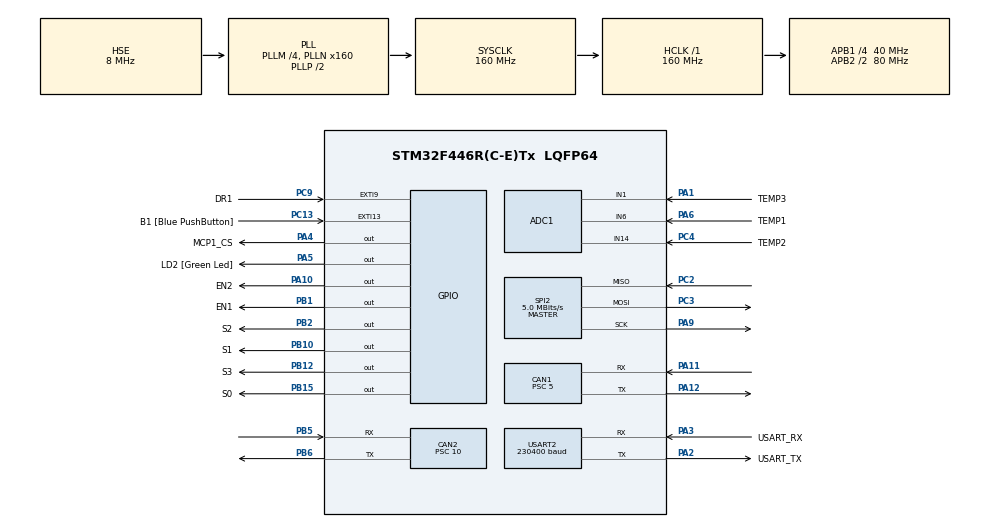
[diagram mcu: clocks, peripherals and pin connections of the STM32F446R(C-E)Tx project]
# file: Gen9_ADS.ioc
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ADC1.Channel-31\#ChannelRegularConversion=ADC_CHANNEL_6
ADC1.Channel-32\#ChannelRegularConversion=ADC_CHANNEL_14
ADC1.Channel-33\#ChannelRegularConversion=ADC_CHANNEL_1
ADC1.EnableAnalogWatchDog=false
ADC1.NbrOfConversion=3
ADC1.NbrOfConversionFlag=1
ADC1.Rank-31\#ChannelRegularConversion=1
ADC1.Rank-32\#ChannelRegularConversion=2
ADC1.Rank-33\#ChannelRegularConversion=3
ADC1.SamplingTime-31\#ChannelRegularConversion=ADC_SAMPLETIME_15CYCLES
ADC1.SamplingTime-32\#ChannelRegularConversion=ADC_SAMPLETIME_15CYCLES
ADC1.SamplingTime-33\#ChannelRegularConversion=ADC_SAMPLETIME_15CYCLES
ADC1.ScanConvMode=ENABLE
ADC1.master=1
CAN1.ABOM=ENABLE
CAN1.AWUM=DISABLE
CAN1.BS1=CAN_BS1_13TQ
CAN1.BS2=CAN_BS2_2TQ
CAN1.CalculateTimeBit=2000
CAN1.CalculateTimeQuantum=125.0
CAN1.Mode=CAN_MODE_NORMAL
CAN1.Prescaler=5
CAN1.SJW=CAN_SJW_1TQ
CAN2.ABOM=ENABLE
CAN2.BS1=CAN_BS1_11TQ
CAN2.BS2=CAN_BS2_4TQ
CAN2.CalculateTimeBit=4000
CAN2.CalculateTimeQuantum=250.0
CAN2.Prescaler=10
CAN2.SJW=CAN_SJW_1TQ
Dma.ADC1.2.Direction=DMA_PERIPH_TO_MEMORY
Dma.ADC1.2.FIFOMode=DMA_FIFOMODE_DISABLE
Dma.ADC1.2.Instance=DMA2_Stream0
Dma.ADC1.2.MemDataAlignment=DMA_MDATAALIGN_HALFWORD
Dma.ADC1.2.MemInc=DMA_MINC_ENABLE
Dma.ADC1.2.Mode=DMA_NORMAL
Dma.ADC1.2.PeriphDataAlignment=DMA_PDATAALIGN_HALFWORD
Dma.ADC1.2.PeriphInc=DMA_PINC_DISABLE
Dma.ADC1.2.Priority=DMA_PRIORITY_LOW
Dma.Request0=USART2_RX
Dma.Request1=USART2_TX
Dma.Request2=ADC1
Dma.Request3=SPI2_RX
Dma.Request4=SPI2_TX
Dma.SPI2_RX.3.Direction=DMA_PERIPH_TO_MEMORY
Dma.SPI2_RX.3.FIFOMode=DMA_FIFOMODE_DISABLE
Dma.SPI2_RX.3.Instance=DMA1_Stream3
Dma.SPI2_RX.3.MemDataAlignment=DMA_MDATAALIGN_BYTE
Dma.SPI2_RX.3.MemInc=DMA_MINC_ENABLE
Dma.SPI2_RX.3.Mode=DMA_NORMAL
Dma.SPI2_RX.3.PeriphDataAlignment=DMA_PDATAALIGN_BYTE
Dma.SPI2_RX.3.PeriphInc=DMA_PINC_DISABLE
Dma.SPI2_RX.3.Priority=DMA_PRIORITY_HIGH
Dma.SPI2_TX.4.Direction=DMA_MEMORY_TO_PERIPH
Dma.SPI2_TX.4.FIFOMode=DMA_FIFOMODE_DISABLE
Dma.SPI2_TX.4.Instance=DMA1_Stream4
Dma.SPI2_TX.4.MemDataAlignment=DMA_MDATAALIGN_BYTE
Dma.SPI2_TX.4.MemInc=DMA_MINC_ENABLE
Dma.SPI2_TX.4.Mode=DMA_NORMAL
Dma.SPI2_TX.4.PeriphDataAlignment=DMA_PDATAALIGN_BYTE
Dma.SPI2_TX.4.PeriphInc=DMA_PINC_DISABLE
Dma.SPI2_TX.4.Priority=DMA_PRIORITY_MEDIUM
Dma.USART2_RX.0.Direction=DMA_PERIPH_TO_MEMORY
Dma.USART2_RX.0.FIFOMode=DMA_FIFOMODE_DISABLE
Dma.USART2_RX.0.Instance=DMA1_Stream5
Dma.USART2_RX.0.MemDataAlignment=DMA_MDATAALIGN_BYTE
Dma.USART2_RX.0.MemInc=DMA_MINC_ENABLE
Dma.USART2_RX.0.Mode=DMA_CIRCULAR
Dma.USART2_RX.0.PeriphDataAlignment=DMA_PDATAALIGN_BYTE
Dma.USART2_RX.0.PeriphInc=DMA_PINC_DISABLE
Dma.USART2_RX.0.Priority=DMA_PRIORITY_HIGH
Dma.USART2_TX.1.Direction=DMA_MEMORY_TO_PERIPH
Dma.USART2_TX.1.FIFOMode=DMA_FIFOMODE_DISABLE
Dma.USART2_TX.1.Instance=DMA1_Stream6
Dma.USART2_TX.1.MemDataAlignment=DMA_MDATAALIGN_BYTE
Dma.USART2_TX.1.MemInc=DMA_MINC_ENABLE
Dma.USART2_TX.1.Mode=DMA_NORMAL
Dma.USART2_TX.1.PeriphDataAlignment=DMA_PDATAALIGN_BYTE
Dma.USART2_TX.1.PeriphInc=DMA_PINC_DISABLE
Dma.USART2_TX.1.Priority=DMA_PRIORITY_MEDIUM
FREERTOS.BinarySemaphores01=mcp3909_DR,Dynamic,NULL;mcp3909_RX,Dynamic,NULL
FREERTOS.HEAP_NUMBER=4
FREERTOS.INCLUDE_eTaskGetState=1
FREERTOS.INCLUDE_vTaskDelayUntil=1
FREERTOS.INCLUDE_xQueueGetMutexHolder=1
FREERTOS.INCLUDE_xSemaphoreGetMutexHolder=1
FREERTOS.INCLUDE_xTaskGetCurrentTaskHandle=1
FREERTOS.Mutexes01=swMtx,Dynamic,NULL
FREERTOS.Queues01=mainCanTxQ,64,Can_frame_t,NULL,Dynamic,NULL,NULL;mainCanRxQ,32,Can_frame_t,NULL,Dynamic,NULL,NULL;can2TxQ,32,Can_frame_t,NULL,Dynamic,NULL,NULL;Can2RxQ,32,Can_frame_t,NULL,Dynamic,NULL,NULL
FREERTOS.Tasks01=Application,-2,512,doApplication,Default,NULL,Dynamic,NULL,NULL;Can_Processor,1,512,doProcessCan,Default,NULL,Dynamic,NULL,NULL;RT,3,512,doRT,Default,NULL,Dynamic,NULL,NULL;TMT,2,512,doTMT,Default,NULL,Dynamic,NULL,NULL;HouseKeeping,-1,512,doHouseKeeping,Default,NULL,Dynamic,NULL,NULL;PPTPoll,0,512,doPPTPoll,Default,NULL,Dynamic,NULL,NULL
FREERTOS.Timers01=WWDGTmr,TmrKickDog,osTimerPeriodic,Default,NULL,Dynamic,NULL;HBTmr,TmrSendHB,osTimerPeriodic,Default,NULL,Dynamic,NULL
FREERTOS.configCHECK_FOR_STACK_OVERFLOW=2
FREERTOS.configENABLE_BACKWARD_COMPATIBILITY=0
FREERTOS.configMAX_PRIORITIES=7
FREERTOS.configMINIMAL_STACK_SIZE=512
FREERTOS.configTIMER_QUEUE_LENGTH=8
FREERTOS.configTIMER_TASK_PRIORITY=6
FREERTOS.configTIMER_TASK_STACK_DEPTH=512
FREERTOS.configTOTAL_HEAP_SIZE=65536
FREERTOS.configUSE_MALLOC_FAILED_HOOK=1
FREERTOS.configUSE_PORT_OPTIMISED_TASK_SELECTION=1
FREERTOS.configUSE_TASK_NOTIFICATIONS=0
FREERTOS.configUSE_TIMERS=1
FREERTOS.configUSE_TRACE_FACILITY=0
Mcu.Family=STM32F4
Mcu.Name=STM32F446R(C-E)Tx
Mcu.Package=LQFP64
NVIC.CAN1_RX0_IRQn=true\:5\:0\:false\:false\:true\:true
NVIC.CAN1_RX1_IRQn=true\:5\:0\:false\:false\:true\:true
NVIC.CAN1_SCE_IRQn=true\:5\:0\:false\:false\:true\:true
NVIC.CAN1_TX_IRQn=true\:5\:0\:false\:false\:true\:true
NVIC.CAN2_RX0_IRQn=true\:5\:0\:false\:false\:true\:true
NVIC.CAN2_RX1_IRQn=true\:5\:0\:false\:false\:true\:true
NVIC.CAN2_SCE_IRQn=true\:5\:0\:false\:false\:true\:true
NVIC.CAN2_TX_IRQn=true\:5\:0\:false\:false\:true\:true
NVIC.DMA1_Stream3_IRQn=true\:6\:0\:true\:false\:true\:true
NVIC.DMA1_Stream4_IRQn=true\:6\:0\:true\:false\:true\:true
NVIC.DMA1_Stream5_IRQn=true\:6\:0\:true\:false\:true\:true
NVIC.DMA1_Stream6_IRQn=true\:6\:0\:true\:false\:true\:true
NVIC.DMA2_Stream0_IRQn=true\:5\:0\:false\:false\:true\:true
NVIC.EXTI9_5_IRQn=true\:6\:0\:true\:false\:true\:true
NVIC.PriorityGroup=NVIC_PRIORITYGROUP_4
NVIC.SPI2_IRQn=true\:6\:0\:true\:false\:true\:true
NVIC.TIM6_DAC_IRQn=true\:0\:0\:false\:false\:true\:false
NVIC.TimeBase=TIM6_DAC_IRQn
NVIC.TimeBaseIP=TIM6
NVIC.USART2_IRQn=true\:5\:0\:false\:false\:true\:true
PA1.GPIO_Label=TEMP3
PA1.Signal=ADCx_IN1
PA10.GPIO_Label=EN2
PA10.GPIO_ModeDefaultOutputPP=GPIO_MODE_OUTPUT_OD
PA10.GPIO_PuPd=GPIO_NOPULL
PA10.GPIO_Speed=GPIO_SPEED_FREQ_VERY_HIGH
PA10.PinState=GPIO_PIN_RESET
PA10.Signal=GPIO_Output
PA11.Mode=Master
PA11.Signal=CAN1_RX
PA12.Mode=Master
PA12.Signal=CAN1_TX
PA13.GPIO_Label=TMS
PA13.Mode=Serial_Wire
PA13.Signal=SYS_JTMS-SWDIO
PA14.GPIO_Label=TCK
PA14.Mode=Serial_Wire
PA14.Signal=SYS_JTCK-SWCLK
PA2.GPIO_Label=USART_TX
PA2.Mode=Asynchronous
PA2.Signal=USART2_TX
PA3.GPIO_Label=USART_RX
PA3.Mode=Asynchronous
PA3.Signal=USART2_RX
PA4.GPIO_Label=MCP1_CS
PA4.GPIO_ModeDefaultOutputPP=GPIO_MODE_OUTPUT_OD
PA4.GPIO_PuPd=GPIO_PULLUP
PA4.GPIO_Speed=GPIO_SPEED_FREQ_VERY_HIGH
PA4.PinState=GPIO_PIN_SET
PA4.Signal=GPIO_Output
PA5.GPIO_Label=LD2 [Green Led]
PA5.GPIO_Speed=GPIO_SPEED_FREQ_VERY_HIGH
PA5.Signal=GPIO_Output
PA6.GPIO_Label=TEMP1
PA6.Signal=ADCx_IN6
PA9.Mode=Full_Duplex_Master
PA9.Signal=SPI2_SCK
PB1.GPIO_Label=EN1
PB1.GPIO_ModeDefaultOutputPP=GPIO_MODE_OUTPUT_OD
PB1.GPIO_PuPd=GPIO_NOPULL
PB1.GPIO_Speed=GPIO_SPEED_FREQ_VERY_HIGH
PB1.PinState=GPIO_PIN_RESET
PB1.Signal=GPIO_Output
PB10.GPIO_Label=S1
PB10.GPIO_Speed=GPIO_SPEED_FREQ_VERY_HIGH
PB10.Signal=GPIO_Output
PB12.GPIO_Label=S3
PB12.GPIO_Speed=GPIO_SPEED_FREQ_VERY_HIGH
PB12.Signal=GPIO_Output
PB15.GPIO_Label=S0
PB15.GPIO_Speed=GPIO_SPEED_FREQ_VERY_HIGH
PB15.Signal=GPIO_Output
PB2.GPIO_Label=S2
PB2.GPIO_PuPd=GPIO_NOPULL
PB2.GPIO_Speed=GPIO_SPEED_FREQ_VERY_HIGH
PB2.Signal=GPIO_Output
PB5.Mode=Slave
PB5.Signal=CAN2_RX
PB6.Mode=Slave
PB6.Signal=CAN2_TX
PC13.GPIO_Label=B1 [Blue PushButton]
PC13.GPIO_ModeDefaultEXTI=GPIO_MODE_EVT_RISING
PC13.Signal=GPXTI13
PC14-OSC32_IN.Mode=LSE-External-Oscillator
PC14-OSC32_IN.Signal=RCC_OSC32_IN
PC15-OSC32_OUT.Mode=LSE-External-Oscillator
PC15-OSC32_OUT.Signal=RCC_OSC32_OUT
PC2.GPIO_PuPd=GPIO_PULLUP
PC2.Mode=Full_Duplex_Master
PC2.Signal=SPI2_MISO
PC3.GPIO_PuPd=GPIO_PULLUP
PC3.Mode=Full_Duplex_Master
PC3.Signal=SPI2_MOSI
PC4.GPIO_Label=TEMP2
PC4.Signal=ADCx_IN14
PC9.GPIO_Label=DR1
PC9.GPIO_ModeDefaultEXTI=GPIO_MODE_IT_FALLING
PC9.Signal=GPXTI9
PH0-OSC_IN.Mode=HSE-External-Oscillator
PH0-OSC_IN.Signal=RCC_OSC_IN
PH1-OSC_OUT.Mode=HSE-External-Oscillator
PH1-OSC_OUT.Signal=RCC_OSC_OUT
ProjectManager.HeapSize=0x200
ProjectManager.StackSize=0x400
ProjectManager.TargetToolchain=EWARM
RCC.48MHZClocksFreq_Value=84000000
RCC.AHBFreq_Value=160000000
RCC.APB1CLKDivider=RCC_HCLK_DIV4
RCC.APB1Freq_Value=40000000
RCC.APB1TimFreq_Value=80000000
RCC.APB2CLKDivider=RCC_HCLK_DIV2
RCC.APB2Freq_Value=80000000
RCC.APB2TimFreq_Value=160000000
RCC.CortexFreq_Value=160000000
RCC.FLatency-AdvancedSettings=FLASH_LATENCY_5
RCC.HCLKFreq_Value=160000000
RCC.HSE_VALUE=8000000
RCC.HSI_VALUE=16000000
RCC.PLLM=4
RCC.PLLN=160
RCC.PLLSourceVirtual=RCC_PLLSOURCE_HSE
RCC.RCC_RTC_Clock_SourceVirtual=RCC_RTCCLKSOURCE_LSI
RCC.SYSCLKFreq_VALUE=160000000
RCC.SYSCLKSource=RCC_SYSCLKSOURCE_PLLCLK
RCC.USBFreq_Value=160000000
RCC.VCOOutputFreq_Value=320000000
SH.ADCx_IN1.0=ADC1_IN1,IN1
SH.ADCx_IN14.0=ADC1_IN14,IN14
SH.ADCx_IN6.0=ADC1_IN6,IN6
SPI2.BaudRatePrescaler=SPI_BAUDRATEPRESCALER_8
SPI2.CalculateBaudRate=5.0 MBits/s
SPI2.Direction=SPI_DIRECTION_2LINES
SPI2.Mode=SPI_MODE_MASTER
SPI2.VirtualType=VM_MASTER
USART2.BaudRate=230400
USART2.VirtualMode=VM_ASYNC
VP_FREERTOS_VS_ENABLE.Mode=Enabled
VP_SYS_VS_tim6.Mode=TIM6
VP_WWDG_VS_WWDG.Mode=WWDG_Activate
WWDG.Counter=127
WWDG.Prescaler=WWDG_PRESCALER_8
WWDG.Window=127
board=NUCLEO-F446RE

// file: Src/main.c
/**
  ******************************************************************************
  * File Name          : main.c
  * Description        : Main program body
  ******************************************************************************
  * This notice applies to any and all portions of this file
  * that are not between comment pairs USER CODE BEGIN and
  * USER CODE END. Other portions of this file, whether
  * inserted by the user or by software development tools
  * are owned by their respective copyright owners.
  *
  * Copyright (c) 2017 STMicroelectronics International N.V.
  * All rights reserved.
  *
  * Redistribution and use in source and binary forms, with or without
  * modification, are permitted, provided that the following conditions are met:
  *
  * 1. Redistribution of source code must retain the above copyright notice,
  *    this list of conditions and the following disclaimer.
  * 2. Redistributions in binary form must reproduce the above copyright notice,
  *    this list of conditions and the following disclaimer in the documentation
  *    and/or other materials provided with the distribution.
  * 3. Neither the name of STMicroelectronics nor the names of other
  *    contributors to this software may be used to endorse or promote products
  *    derived from this software without specific written permission.
  * 4. This software, including modifications and/or derivative works of this
  *    software, must execute solely and exclusively on microcontroller or
  *    microprocessor devices manufactured by or for STMicroelectronics.
  * 5. Redistribution and use of this software other than as permitted under
  *    this license is void and will automatically terminate your rights under
  *    this license.
  *
  * THIS SOFTWARE IS PROVIDED BY STMICROELECTRONICS AND CONTRIBUTORS "AS IS"
  * AND ANY EXPRESS, IMPLIED OR STATUTORY WARRANTIES, INCLUDING, BUT NOT
  * LIMITED TO, THE IMPLIED WARRANTIES OF MERCHANTABILITY, FITNESS FOR A
  * PARTICULAR PURPOSE AND NON-INFRINGEMENT OF THIRD PARTY INTELLECTUAL PROPERTY
  * RIGHTS ARE DISCLAIMED TO THE FULLEST EXTENT PERMITTED BY LAW. IN NO EVENT
  * SHALL STMICROELECTRONICS OR CONTRIBUTORS BE LIABLE FOR ANY DIRECT, INDIRECT,
  * INCIDENTAL, SPECIAL, EXEMPLARY, OR CONSEQUENTIAL DAMAGES (INCLUDING, BUT NOT
  * LIMITED TO, PROCUREMENT OF SUBSTITUTE GOODS OR SERVICES; LOSS OF USE, DATA,
  * OR PROFITS; OR BUSINESS INTERRUPTION) HOWEVER CAUSED AND ON ANY THEORY OF
  * LIABILITY, WHETHER IN CONTRACT, STRICT LIABILITY, OR TORT (INCLUDING
  * NEGLIGENCE OR OTHERWISE) ARISING IN ANY WAY OUT OF THE USE OF THIS SOFTWARE,
  * EVEN IF ADVISED OF THE POSSIBILITY OF SUCH DAMAGE.
  *
  ******************************************************************************
  */
#include "main.h"
#include "stm32f4xx_hal.h"
#include "cmsis_os.h"

/* USER CODE BEGIN Includes */
#include "../../CAN_ID.h"
#include "nodeConf.h"
#include "can.h"
#include "can2.h"
#include "serial.h"
#include "ts_lib.h"
#include "thermistor.h"
#include "nodeMiscHelpers.h"
#include "psb0cal.h"

// RTOS Task functions + helpers
#include "Can_Processor.h"

//MCP3909
#include "mcp3909.h"

/* USER CODE END Includes */

ADC_HandleTypeDef hadc1;
DMA_HandleTypeDef hdma_adc1;

CAN_HandleTypeDef hcan1;
CAN_HandleTypeDef hcan2;

SPI_HandleTypeDef hspi2;
DMA_HandleTypeDef hdma_spi2_rx;
DMA_HandleTypeDef hdma_spi2_tx;

UART_HandleTypeDef huart2;
DMA_HandleTypeDef hdma_usart2_rx;
DMA_HandleTypeDef hdma_usart2_tx;

WWDG_HandleTypeDef hwwdg;

osThreadId ApplicationHandle;
osThreadId Can_ProcessorHandle;
osThreadId RTHandle;
osThreadId TMTHandle;
osThreadId HouseKeepingHandle;
osThreadId PPTPollHandle;
osMessageQId mainCanTxQHandle;
osMessageQId mainCanRxQHandle;
osMessageQId can2TxQHandle;
osMessageQId Can2RxQHandle;
osTimerId WWDGTmrHandle;
osTimerId HBTmrHandle;
osMutexId swMtxHandle;
osSemaphoreId mcp3909_DRHandle;
osSemaphoreId mcp3909_RXHandle;

/* USER CODE BEGIN PV */
/* Private variables ---------------------------------------------------------*/
MCP3909HandleTypeDef hmcp1;
uint8_t mcpRxBuf[REG_LEN * REGS_NUM];
uint8_t mcpTxBuf[REG_LEN * REGS_NUM + CTRL_LEN];

uint8_t init_Done = 0;

// SW_Sentinel will fail the CC firmware check and result in node addition failure!
//const uint32_t firmwareString = 0x00000001;			// Firmware Version string
//const uint8_t selfNodeID = bps_nodeID;					// The nodeID of this node
//uint32_t selfStatusWord = INIT;							// Initialize
//#define NODE_CONFIGURED
//
//#ifndef NODE_CONFIGURED
//#error "NODE NOT CONFIGURED. GO CONFIGURE IT IN NODECONF.H!"
//#endif
/* USER CODE END PV */

void SystemClock_Config(void);
static void MX_GPIO_Init(void);
static void MX_DMA_Init(void);
static void MX_USART2_UART_Init(void);
static void MX_ADC1_Init(void);
static void MX_CAN1_Init(void);
static void MX_SPI2_Init(void);
static void MX_WWDG_Init(void);
static void MX_CAN2_Init(void);
void doApplication(void const * argument);
void doProcessCan(void const * argument);
void doRT(void const * argument);
void doTMT(void const * argument);
void doHouseKeeping(void const * argument);
void doPPTPoll(void const * argument);
void TmrKickDog(void const * argument);
void TmrSendHB(void const * argument);

/* USER CODE BEGIN PFP */
/* Private function prototypes -----------------------------------------------*/

// Data Ready pin triggered callback (PA1)
void HAL_GPIO_EXTI_Callback(uint16_t pinNum);
void HAL_SPI_TxRxCpltCallback(SPI_HandleTypeDef *hspi);
void HAL_SPI_TxCpltCallback(SPI_HandleTypeDef *hspi);
void EM_Init();
void HAL_CAN_TxCpltCallback(CAN_HandleTypeDef* hcan);
void HAL_CAN_RxCpltCallback(CAN_HandleTypeDef* hcan);
void HAL_CAN_ErrorCallback(CAN_HandleTypeDef *hcan);
/* USER CODE END PFP */

int main(void)
{

  /* USER CODE BEGIN 1 */
//#define DISABLE_RT
#define DISABLE_TMT
//#define DISABLE_CAN
	#define DISABLE_SERIAL_OUT
	selfStatusWord = INIT;
  /* USER CODE END 1 */

  /* MCU Configuration----------------------------------------------------------*/

  /* Reset of all peripherals, Initializes the Flash interface and the Systick. */
  HAL_Init();

  /* Configure the system clock */
  SystemClock_Config();

  /* Initialize all configured peripherals */
  MX_GPIO_Init();
  MX_DMA_Init();
  MX_USART2_UART_Init();
  MX_ADC1_Init();
  MX_CAN1_Init();
  MX_SPI2_Init();
  MX_WWDG_Init();
  MX_CAN2_Init();

  /* USER CODE BEGIN 2 */
	__HAL_GPIO_EXTI_CLEAR_IT(DR1_Pin);
	HAL_NVIC_DisableIRQ(EXTI9_5_IRQn);
	__HAL_GPIO_EXTI_CLEAR_IT(DR1_Pin);

	init_Done = 1;

	Serial2_begin();
	Serial2_writeBuf("Booting... \n");

	bxCan_begin(&hcan1, &mainCanRxQHandle, &mainCanTxQHandle);
	bxCan_addMaskedFilterStd(p2pOffset,0xFF0,0);

	bxCan2_begin(&hcan2, &Can2RxQHandle, &can2TxQHandle);
	bxCan2_addMaskedFilterStd(0,0,0);
	bxCan2_addMaskedFilterExt(0,0,0);

	#ifndef DISABLE_TMT
		Temp_begin(&hadc1);
	#endif

	#ifndef DISABLE_RT
		EM_Init();
		HAL_WWDG_Refresh(&hwwdg);
	#endif
  /* USER CODE END 2 */

  /* Create the mutex(es) */
  /* definition and creation of swMtx */
  osMutexDef(swMtx);
  swMtxHandle = osMutexCreate(osMutex(swMtx));

  /* Create the semaphores(s) */
  /* definition and creation of mcp3909_DR */
  osSemaphoreDef(mcp3909_DR);
  mcp3909_DRHandle = osSemaphoreCreate(osSemaphore(mcp3909_DR), 1);

  /* definition and creation of mcp3909_RX */
  osSemaphoreDef(mcp3909_RX);
  mcp3909_RXHandle = osSemaphoreCreate(osSemaphore(mcp3909_RX), 1);

  /* Create the timer(s) */
  /* definition and creation of WWDGTmr */
  osTimerDef(WWDGTmr, TmrKickDog);
  WWDGTmrHandle = osTimerCreate(osTimer(WWDGTmr), osTimerPeriodic, NULL);

  /* definition and creation of HBTmr */
  osTimerDef(HBTmr, TmrSendHB);
  HBTmrHandle = osTimerCreate(osTimer(HBTmr), osTimerPeriodic, NULL);

  /* USER CODE BEGIN RTOS_TIMERS */
  /* start timers, add new ones, ... */
  osTimerStart(WWDGTmrHandle, WD_Interval);
  osTimerStart(HBTmrHandle, HB_Interval);
  /* USER CODE END RTOS_TIMERS */

  /* Create the thread(s) */
  /* definition and creation of Application */
  osThreadDef(Application, doApplication, osPriorityLow, 0, 512);
  ApplicationHandle = osThreadCreate(osThread(Application), NULL);

  /* definition and creation of Can_Processor */
  osThreadDef(Can_Processor, doProcessCan, osPriorityAboveNormal, 0, 512);
  Can_ProcessorHandle = osThreadCreate(osThread(Can_Processor), NULL);

  /* definition and creation of RT */
  osThreadDef(RT, doRT, osPriorityRealtime, 0, 512);
  RTHandle = osThreadCreate(osThread(RT), NULL);

  /* definition and creation of TMT */
  osThreadDef(TMT, doTMT, osPriorityHigh, 0, 512);
  TMTHandle = osThreadCreate(osThread(TMT), NULL);

  /* definition and creation of HouseKeeping */
  osThreadDef(HouseKeeping, doHouseKeeping, osPriorityBelowNormal, 0, 512);
  HouseKeepingHandle = osThreadCreate(osThread(HouseKeeping), NULL);

  /* definition and creation of PPTPoll */
  osThreadDef(PPTPoll, doPPTPoll, osPriorityNormal, 0, 512);
  PPTPollHandle = osThreadCreate(osThread(PPTPoll), NULL);

  /* Create the queue(s) */
  /* definition and creation of mainCanTxQ */
  osMessageQDef(mainCanTxQ, 64, Can_frame_t);
  mainCanTxQHandle = osMessageCreate(osMessageQ(mainCanTxQ), NULL);

  /* definition and creation of mainCanRxQ */
  osMessageQDef(mainCanRxQ, 32, Can_frame_t);
  mainCanRxQHandle = osMessageCreate(osMessageQ(mainCanRxQ), NULL);

  /* definition and creation of can2TxQ */
  osMessageQDef(can2TxQ, 32, Can_frame_t);
  can2TxQHandle = osMessageCreate(osMessageQ(can2TxQ), NULL);

  /* definition and creation of Can2RxQ */
  osMessageQDef(Can2RxQ, 32, Can_frame_t);
  Can2RxQHandle = osMessageCreate(osMessageQ(Can2RxQ), NULL);

  /* Start scheduler */
  osKernelStart();

  /* We should never get here as control is now taken by the scheduler */

  /* Infinite loop */
  while (1)
  {

  }

}

/** System Clock Configuration
*/
void SystemClock_Config(void)
{

  RCC_OscInitTypeDef RCC_OscInitStruct;
  RCC_ClkInitTypeDef RCC_ClkInitStruct;

    /**Configure the main internal regulator output voltage
    */
  __HAL_RCC_PWR_CLK_ENABLE();

  __HAL_PWR_VOLTAGESCALING_CONFIG(PWR_REGULATOR_VOLTAGE_SCALE1);

    /**Initializes the CPU, AHB and APB busses clocks
    */
  RCC_OscInitStruct.OscillatorType = RCC_OSCILLATORTYPE_HSE;
  RCC_OscInitStruct.HSEState = RCC_HSE_ON;
  RCC_OscInitStruct.PLL.PLLState = RCC_PLL_ON;
  RCC_OscInitStruct.PLL.PLLSource = RCC_PLLSOURCE_HSE;
  RCC_OscInitStruct.PLL.PLLM = 4;
  RCC_OscInitStruct.PLL.PLLN = 160;
  RCC_OscInitStruct.PLL.PLLP = RCC_PLLP_DIV2;
  RCC_OscInitStruct.PLL.PLLQ = 2;
  RCC_OscInitStruct.PLL.PLLR = 2;
  if (HAL_RCC_OscConfig(&RCC_OscInitStruct) != HAL_OK)
  {
    _Error_Handler(__FILE__, __LINE__);
  }

    /**Initializes the CPU, AHB and APB busses clocks
    */
  RCC_ClkInitStruct.ClockType = RCC_CLOCKTYPE_HCLK|RCC_CLOCKTYPE_SYSCLK
                              |RCC_CLOCKTYPE_PCLK1|RCC_CLOCKTYPE_PCLK2;
  RCC_ClkInitStruct.SYSCLKSource = RCC_SYSCLKSOURCE_PLLCLK;
  RCC_ClkInitStruct.AHBCLKDivider = RCC_SYSCLK_DIV1;
  RCC_ClkInitStruct.APB1CLKDivider = RCC_HCLK_DIV4;
  RCC_ClkInitStruct.APB2CLKDivider = RCC_HCLK_DIV2;

  if (HAL_RCC_ClockConfig(&RCC_ClkInitStruct, FLASH_LATENCY_5) != HAL_OK)
  {
    _Error_Handler(__FILE__, __LINE__);
  }

    /**Configure the Systick interrupt time
    */
  HAL_SYSTICK_Config(HAL_RCC_GetHCLKFreq()/1000);

    /**Configure the Systick
    */
  HAL_SYSTICK_CLKSourceConfig(SYSTICK_CLKSOURCE_HCLK);

  /* SysTick_IRQn interrupt configuration */
  HAL_NVIC_SetPriority(SysTick_IRQn, 15, 0);
}

/* ADC1 init function */
static void MX_ADC1_Init(void)
{

  ADC_ChannelConfTypeDef sConfig;

    /**Configure the global features of the ADC (Clock, Resolution, Data Alignment and number of conversion)
    */
  hadc1.Instance = ADC1;
  hadc1.Init.ClockPrescaler = ADC_CLOCK_SYNC_PCLK_DIV4;
  hadc1.Init.Resolution = ADC_RESOLUTION_12B;
  hadc1.Init.ScanConvMode = ENABLE;
  hadc1.Init.ContinuousConvMode = DISABLE;
  hadc1.Init.DiscontinuousConvMode = DISABLE;
  hadc1.Init.ExternalTrigConvEdge = ADC_EXTERNALTRIGCONVEDGE_NONE;
  hadc1.Init.ExternalTrigConv = ADC_SOFTWARE_START;
  hadc1.Init.DataAlign = ADC_DATAALIGN_RIGHT;
  hadc1.Init.NbrOfConversion = 3;
  hadc1.Init.DMAContinuousRequests = DISABLE;
  hadc1.Init.EOCSelection = ADC_EOC_SINGLE_CONV;
  if (HAL_ADC_Init(&hadc1) != HAL_OK)
  {
    _Error_Handler(__FILE__, __LINE__);
  }

    /**Configure for the selected ADC regular channel its corresponding rank in the sequencer and its sample time.
    */
  sConfig.Channel = ADC_CHANNEL_6;
  sConfig.Rank = 1;
  sConfig.SamplingTime = ADC_SAMPLETIME_15CYCLES;
  if (HAL_ADC_ConfigChannel(&hadc1, &sConfig) != HAL_OK)
  {
    _Error_Handler(__FILE__, __LINE__);
  }

    /**Configure for the selected ADC regular channel its corresponding rank in the sequencer and its sample time.
    */
  sConfig.Channel = ADC_CHANNEL_14;
  sConfig.Rank = 2;
  if (HAL_ADC_ConfigChannel(&hadc1, &sConfig) != HAL_OK)
  {
    _Error_Handler(__FILE__, __LINE__);
  }

    /**Configure for the selected ADC regular channel its corresponding rank in the sequencer and its sample time.
    */
  sConfig.Channel = ADC_CHANNEL_1;
  sConfig.Rank = 3;
  if (HAL_ADC_ConfigChannel(&hadc1, &sConfig) != HAL_OK)
  {
    _Error_Handler(__FILE__, __LINE__);
  }

}

/* CAN1 init function */
static void MX_CAN1_Init(void)
{

  hcan1.Instance = CAN1;
  hcan1.Init.Prescaler = 5;
  hcan1.Init.Mode = CAN_MODE_NORMAL;
  hcan1.Init.SJW = CAN_SJW_1TQ;
  hcan1.Init.BS1 = CAN_BS1_13TQ;
  hcan1.Init.BS2 = CAN_BS2_2TQ;
  hcan1.Init.TTCM = DISABLE;
  hcan1.Init.ABOM = ENABLE;
  hcan1.Init.AWUM = DISABLE;
  hcan1.Init.NART = DISABLE;
  hcan1.Init.RFLM = DISABLE;
  hcan1.Init.TXFP = DISABLE;
  if (HAL_CAN_Init(&hcan1) != HAL_OK)
  {
    _Error_Handler(__FILE__, __LINE__);
  }

}

/* CAN2 init function */
static void MX_CAN2_Init(void)
{

  hcan2.Instance = CAN2;
  hcan2.Init.Prescaler = 10;
  hcan2.Init.Mode = CAN_MODE_NORMAL;
  hcan2.Init.SJW = CAN_SJW_1TQ;
  hcan2.Init.BS1 = CAN_BS1_11TQ;
  hcan2.Init.BS2 = CAN_BS2_4TQ;
  hcan2.Init.TTCM = DISABLE;
  hcan2.Init.ABOM = ENABLE;
  hcan2.Init.AWUM = DISABLE;
  hcan2.Init.NART = DISABLE;
  hcan2.Init.RFLM = DISABLE;
  hcan2.Init.TXFP = DISABLE;
  if (HAL_CAN_Init(&hcan2) != HAL_OK)
  {
    _Error_Handler(__FILE__, __LINE__);
  }

}

/* SPI2 init function */
static void MX_SPI2_Init(void)
{

  hspi2.Instance = SPI2;
  hspi2.Init.Mode = SPI_MODE_MASTER;
  hspi2.Init.Direction = SPI_DIRECTION_2LINES;
  hspi2.Init.DataSize = SPI_DATASIZE_8BIT;
  hspi2.Init.CLKPolarity = SPI_POLARITY_LOW;
  hspi2.Init.CLKPhase = SPI_PHASE_1EDGE;
  hspi2.Init.NSS = SPI_NSS_SOFT;
  hspi2.Init.BaudRatePrescaler = SPI_BAUDRATEPRESCALER_8;
  hspi2.Init.FirstBit = SPI_FIRSTBIT_MSB;
  hspi2.Init.TIMode = SPI_TIMODE_DISABLE;
  hspi2.Init.CRCCalculation = SPI_CRCCALCULATION_DISABLE;
  hspi2.Init.CRCPolynomial = 10;
  if (HAL_SPI_Init(&hspi2) != HAL_OK)
  {
    _Error_Handler(__FILE__, __LINE__);
  }

}

/* USART2 init function */
static void MX_USART2_UART_Init(void)
{

  huart2.Instance = USART2;
  huart2.Init.BaudRate = 230400;
  huart2.Init.WordLength = UART_WORDLENGTH_8B;
  huart2.Init.StopBits = UART_STOPBITS_1;
  huart2.Init.Parity = UART_PARITY_NONE;
  huart2.Init.Mode = UART_MODE_TX_RX;
  huart2.Init.HwFlowCtl = UART_HWCONTROL_NONE;
  huart2.Init.OverSampling = UART_OVERSAMPLING_16;
  if (HAL_UART_Init(&huart2) != HAL_OK)
  {
    _Error_Handler(__FILE__, __LINE__);
  }

}

/* WWDG init function */
static void MX_WWDG_Init(void)
{

  hwwdg.Instance = WWDG;
  hwwdg.Init.Prescaler = WWDG_PRESCALER_8;
  hwwdg.Init.Window = 127;
  hwwdg.Init.Counter = 127;
  hwwdg.Init.EWIMode = WWDG_EWI_DISABLE;
  if (HAL_WWDG_Init(&hwwdg) != HAL_OK)
  {
    _Error_Handler(__FILE__, __LINE__);
  }

}

static void MX_DMA_Init(void)
{
  /* DMA controller clock enable */
  __HAL_RCC_DMA1_CLK_ENABLE();
  __HAL_RCC_DMA2_CLK_ENABLE();

  /* DMA interrupt init */
  /* DMA1_Stream3_IRQn interrupt configuration */
  HAL_NVIC_SetPriority(DMA1_Stream3_IRQn, 6, 0);
  HAL_NVIC_EnableIRQ(DMA1_Stream3_IRQn);
  /* DMA1_Stream4_IRQn interrupt configuration */
  HAL_NVIC_SetPriority(DMA1_Stream4_IRQn, 6, 0);
  HAL_NVIC_EnableIRQ(DMA1_Stream4_IRQn);
  /* DMA1_Stream5_IRQn interrupt configuration */
  HAL_NVIC_SetPriority(DMA1_Stream5_IRQn, 6, 0);
  HAL_NVIC_EnableIRQ(DMA1_Stream5_IRQn);
  /* DMA1_Stream6_IRQn interrupt configuration */
  HAL_NVIC_SetPriority(DMA1_Stream6_IRQn, 6, 0);
  HAL_NVIC_EnableIRQ(DMA1_Stream6_IRQn);
  /* DMA2_Stream0_IRQn interrupt configuration */
  HAL_NVIC_SetPriority(DMA2_Stream0_IRQn, 5, 0);
  HAL_NVIC_EnableIRQ(DMA2_Stream0_IRQn);

}

/** Configure pins as
        * Analog
        * Input
        * Output
        * EVENT_OUT
        * EXTI
*/
static void MX_GPIO_Init(void)
{

  GPIO_InitTypeDef GPIO_InitStruct;

  /* GPIO Ports Clock Enable */
  __HAL_RCC_GPIOC_CLK_ENABLE();
  __HAL_RCC_GPIOH_CLK_ENABLE();
  __HAL_RCC_GPIOA_CLK_ENABLE();
  __HAL_RCC_GPIOB_CLK_ENABLE();

  /*Configure GPIO pin Output Level */
  HAL_GPIO_WritePin(MCP1_CS_GPIO_Port, MCP1_CS_Pin, GPIO_PIN_SET);

  /*Configure GPIO pin Output Level */
  HAL_GPIO_WritePin(GPIOA, LD2_Pin|EN2_Pin, GPIO_PIN_RESET);

  /*Configure GPIO pin Output Level */
  HAL_GPIO_WritePin(GPIOB, EN1_Pin|S2_Pin|S1_Pin|S3_Pin
                          |S0_Pin, GPIO_PIN_RESET);

  /*Configure GPIO pin : B1_Pin */
  GPIO_InitStruct.Pin = B1_Pin;
  GPIO_InitStruct.Mode = GPIO_MODE_EVT_RISING;
  GPIO_InitStruct.Pull = GPIO_NOPULL;
  HAL_GPIO_Init(B1_GPIO_Port, &GPIO_InitStruct);

  /*Configure GPIO pin : MCP1_CS_Pin */
  GPIO_InitStruct.Pin = MCP1_CS_Pin;
  GPIO_InitStruct.Mode = GPIO_MODE_OUTPUT_OD;
  GPIO_InitStruct.Pull = GPIO_PULLUP;
  GPIO_InitStruct.Speed = GPIO_SPEED_FREQ_VERY_HIGH;
  HAL_GPIO_Init(MCP1_CS_GPIO_Port, &GPIO_InitStruct);

  /*Configure GPIO pin : LD2_Pin */
  GPIO_InitStruct.Pin = LD2_Pin;
  GPIO_InitStruct.Mode = GPIO_MODE_OUTPUT_PP;
  GPIO_InitStruct.Pull = GPIO_NOPULL;
  GPIO_InitStruct.Speed = GPIO_SPEED_FREQ_VERY_HIGH;
  HAL_GPIO_Init(LD2_GPIO_Port, &GPIO_InitStruct);

  /*Configure GPIO pin : EN1_Pin */
  GPIO_InitStruct.Pin = EN1_Pin;
  GPIO_InitStruct.Mode = GPIO_MODE_OUTPUT_OD;
  GPIO_InitStruct.Pull = GPIO_NOPULL;
  GPIO_InitStruct.Speed = GPIO_SPEED_FREQ_VERY_HIGH;
  HAL_GPIO_Init(EN1_GPIO_Port, &GPIO_InitStruct);

  /*Configure GPIO pins : S2_Pin S1_Pin S3_Pin S0_Pin */
  GPIO_InitStruct.Pin = S2_Pin|S1_Pin|S3_Pin|S0_Pin;
  GPIO_InitStruct.Mode = GPIO_MODE_OUTPUT_PP;
  GPIO_InitStruct.Pull = GPIO_NOPULL;
  GPIO_InitStruct.Speed = GPIO_SPEED_FREQ_VERY_HIGH;
  HAL_GPIO_Init(GPIOB, &GPIO_InitStruct);

  /*Configure GPIO pin : DR1_Pin */
  GPIO_InitStruct.Pin = DR1_Pin;
  GPIO_InitStruct.Mode = GPIO_MODE_IT_FALLING;
  GPIO_InitStruct.Pull = GPIO_NOPULL;
  HAL_GPIO_Init(DR1_GPIO_Port, &GPIO_InitStruct);

  /*Configure GPIO pin : EN2_Pin */
  GPIO_InitStruct.Pin = EN2_Pin;
  GPIO_InitStruct.Mode = GPIO_MODE_OUTPUT_OD;
  GPIO_InitStruct.Pull = GPIO_NOPULL;
  GPIO_InitStruct.Speed = GPIO_SPEED_FREQ_VERY_HIGH;
  HAL_GPIO_Init(EN2_GPIO_Port, &GPIO_InitStruct);

  /* EXTI interrupt init*/
  HAL_NVIC_SetPriority(EXTI9_5_IRQn, 6, 0);
  HAL_NVIC_EnableIRQ(EXTI9_5_IRQn);

}

/* USER CODE BEGIN 4 */
void HAL_GPIO_EXTI_Callback(uint16_t pinNum){
	if(init_Done){
		if(pinNum == DR1_Pin){
	//		HAL_NVIC_DisableIRQ(EXTI1_IRQn);
	//		HAL_NVIC_ClearPendingIRQ(EXTI9_5_IRQn);
			HAL_NVIC_DisableIRQ(EXTI9_5_IRQn);
	//		HAL_NVIC_ClearPendingIRQ(EXTI9_5_IRQn);
			mcp3909_readAllChannels(&hmcp1,hmcp1.pRxBuf);
			xSemaphoreGiveFromISR(mcp3909_DRHandle, NULL);
		}
	}
}

void HAL_SPI_TxRxCpltCallback(SPI_HandleTypeDef *hspi){
	// Check which SPI issued interrupt
	if(hspi == (hmcp1.hspi)){
		HAL_GPIO_WritePin(MCP1_CS_GPIO_Port,MCP1_CS_Pin, GPIO_PIN_SET);
		xSemaphoreGiveFromISR(mcp3909_RXHandle, NULL);
	}
}

void HAL_SPI_TxCpltCallback(SPI_HandleTypeDef *hspi){
	// Check which SPI issued interrupt
	if(hspi == (hmcp1.hspi)){
		HAL_GPIO_WritePin(MCP1_CS_GPIO_Port,MCP1_CS_Pin, GPIO_PIN_SET);
	}
}

void EM_Init(){
	hmcp1.phase[0] = 0;
	hmcp1.phase[1] = 0;
	hmcp1.phase[2] = 0;

	// TODO: Shutdown channels 2-5 for BPS
	for(uint8_t i= 0; i < MAX_CHANNEL_NUM; i++){
		hmcp1.channel[i].PGA = PGA_1;
		hmcp1.channel[i].boost = BOOST_ON;
		hmcp1.channel[i].dither = DITHER_ON;
		hmcp1.channel[i].reset = RESET_OFF;
		hmcp1.channel[i].shutdown = SHUTDOWN_OFF;
		hmcp1.channel[i].resolution = RES_24;
	}

	// Amplify current sense channels to improve dynamic resolution
	hmcp1.channel[1].PGA = PGA_2;
	hmcp1.channel[3].PGA = PGA_4;
	hmcp1.channel[5].PGA = PGA_4;

	hmcp1.extCLK = 0;
	hmcp1.extVREF = 0;
	hmcp1.hspi = &hspi2;
	hmcp1.osr = OSR_256;
	hmcp1.prescale = PRESCALE_1;
	hmcp1.readType = READ_TYPE;

	hmcp1.pRxBuf = mcpRxBuf;
	hmcp1.pTxBuf = mcpTxBuf;

	// HAL_NVIC_SetPriority(EXTI1_IRQn, 6, 0); // set DR pin interrupt priority
	// HAL_NVIC_SetPriority(EXTI9_5_IRQn, 6, 0);
	mcp3909_init(&hmcp1);
}

void HAL_CAN_TxCpltCallback(CAN_HandleTypeDef* hcan){
	if (hcan == &hcan1){
		CAN1_TxCpltCallback(hcan);
	}else if (hcan == &hcan2){
		CAN2_TxCpltCallback(hcan);
	}
}

void HAL_CAN_RxCpltCallback(CAN_HandleTypeDef* hcan){
	if (hcan == &hcan1){
		CAN1_RxCpltCallback(hcan);
	}else if (hcan == &hcan2){
		CAN2_RxCpltCallback(hcan);
	}
}

void HAL_CAN_ErrorCallback(CAN_HandleTypeDef *hcan){
	if (hcan == &hcan1){
		CAN1_ErrorCallback(hcan);
	}else if (hcan == &hcan2){
		CAN2_ErrorCallback(hcan);
	}
}
/* USER CODE END 4 */

/* doApplication function */
void doApplication(void const * argument)
{

  /* USER CODE BEGIN 5 */
	vTaskSuspend(NULL);
	for(;;){
		osDelay(100000);
	}
  /* USER CODE END 5 */
}

/* doProcessCan function */
void doProcessCan(void const * argument)
{
  /* USER CODE BEGIN doProcessCan */
	for(;;){
		// Wrapper function for the CAN Processing Logic
		// Handles all CAN Protocol Suite based responses and tasks
#ifndef DISABLE_CAN
		Can_Processor();
#else
		osDelay(10000);
#endif
	}
  /* USER CODE END doProcessCan */
}

/* doRT function */
void doRT(void const * argument)
{
  /* USER CODE BEGIN doRT */
#ifndef DISABLE_RT

#ifndef DISABLE_CAN
	static Can_frame_t newFrame;
	newFrame.isExt = 0;
	newFrame.isRemote = 0;
	newFrame.dlc = 8;

	static Can_frame_t dcFrame;
	dcFrame.dlc = 0;
	dcFrame.id = 0x701;
	dcFrame.isExt = 0;
	dcFrame.isRemote = 0;
	uint8_t dcSent = 0;
#else
	osDelay(10);
#endif
#ifndef DISABLE_SERIAL_OUT
	static uint8_t intBuf[10];
#endif
	static uint32_t previousWaitTime;

	for(;;){
#ifndef DISABLE_CAN
		if((selfStatusWord & 0x07) == ACTIVE){
#endif
			previousWaitTime = osKernelSysTick();
			mcp3909_wakeup(&hmcp1);
			xSemaphoreTake(mcp3909_DRHandle, portMAX_DELAY);
			xSemaphoreTake(mcp3909_RXHandle, portMAX_DELAY);
			mcp3909_parseChannelData(&hmcp1);

			while(!mcp3909_verify(&hmcp1)){
				if(!dcSent) bxCan_sendFrame(&dcFrame);
				dcSent = 1;
				HAL_GPIO_WritePin(LD2_GPIO_Port, LD2_Pin, 1);
				EM_Init();
				osDelay(100);
				HAL_GPIO_WritePin(LD2_GPIO_Port, LD2_Pin, 0);
			}
			dcSent = 0;

#ifndef DISABLE_CAN
			int32_t temp;

			newFrame.id = pptAPwr;
			temp = psb0ch0Map((hmcp1.registers[0]));
			*(int32_t*)(&(newFrame.Data[0])) = __REV(temp);
			temp= psb0ch1Map((hmcp1.registers[1]));
			*(int32_t*)(&(newFrame.Data[4])) = __REV(temp);
			bxCan_sendFrame(&newFrame);

			newFrame.id = pptBPwr;
			temp = psb0ch2Map((hmcp1.registers[2]));
			*(int32_t*)(&(newFrame.Data[0])) = __REV(temp);
			temp= psb0ch3Map((hmcp1.registers[3]));
			*(int32_t*)(&(newFrame.Data[4])) = __REV(temp);
			bxCan_sendFrame(&newFrame);

			newFrame.id = pptCPwr;
			temp = psb0ch4Map((hmcp1.registers[4]));
			*(int32_t*)(&(newFrame.Data[0])) = __REV(temp);
			temp= psb0ch5Map((hmcp1.registers[5]));
			*(int32_t*)(&(newFrame.Data[4])) = __REV(temp);
			bxCan_sendFrame(&newFrame);
#endif

			// XXX: Energy metering algorithm

			mcp3909_sleep(&hmcp1);
			HAL_WWDG_Refresh(&hwwdg);
			osDelayUntil(&previousWaitTime, RT_Interval);
#ifndef DISABLE_CAN
		}else{
			osDelay(1);
		}
#endif
	}
#else
	for(;;){
		osDelay(1000);
	}
#endif
  /* USER CODE END doRT */
}

/* doTMT function */
void doTMT(void const * argument)
{
  /* USER CODE BEGIN doTMT */
#ifndef DISABLE_TMT

#ifndef DISABLE_CAN
	static Can_frame_t newFrame;
	newFrame.dlc = 8;
	newFrame.isRemote = 0;
	newFrame.isExt = 0;
#else
	osDelay(10);
#endif
	for(;;){
#ifndef DISABLE_CAN
		if((selfStatusWord & 0x07) == ACTIVE){
#endif
			int32_t microCelcius;
			for(int i=0; 2*i<TEMP_CHANNELS; i++){
				for(int j=0; j<2; j++){
					microCelcius = getMicroCelcius(2*i+j);
					resetReading(2*i+j);

//					if(microCelcius >= OVER_TEMPERATURE || microCelcius <= UNDER_TEMPERATURE) assert_bps_fault(tempOffset+i*2+j, microCelcius);
#ifndef DISABLE_CAN
					*(int32_t*)(&(newFrame.Data[j*4])) = __REV(microCelcius);
#endif
				}
#ifndef DISABLE_CAN
				newFrame.id = adcTempOffset + i;
				bxCan_sendFrame(&newFrame);
#endif
			}
			osDelay(TMT_Interval);
#ifndef DISABLE_CAN
		}else{
			osDelay(1);
		}
#endif
	}
#else
	for(;;){
		osDelay(1000);
	}
#endif
  /* USER CODE END doTMT */
}

/* doHouseKeeping function */
void doHouseKeeping(void const * argument)
{
  /* USER CODE BEGIN doHouseKeeping */
	static int bamboozle;
	bamboozle = 0;
	static int bamboozle2;
	bamboozle2 = 0;

	for(;;){
		if(hcan1.State == HAL_CAN_STATE_READY || hcan1.State == HAL_CAN_STATE_BUSY_TX || \
		hcan1.State == HAL_CAN_STATE_TIMEOUT || hcan1.State == HAL_CAN_STATE_ERROR){
			bamboozle++;
		}else{
			bamboozle = 0;
		}
		if(bamboozle > 8){
			HAL_CAN_Receive_IT(&hcan1, 0);
		}
		if(bamboozle > 12){
			NVIC_SystemReset();
		}

		if(hcan2.State == HAL_CAN_STATE_READY || hcan2.State == HAL_CAN_STATE_BUSY_TX || \
		hcan2.State == HAL_CAN_STATE_TIMEOUT || hcan2.State == HAL_CAN_STATE_ERROR){
			bamboozle2++;
		}else{
			bamboozle2 = 0;
		}
		if(bamboozle2 > 8){
			HAL_CAN_Receive_IT(&hcan2, 0);
		}
		if(bamboozle2 > 12){
			NVIC_SystemReset();
		}

		osDelay(17);    //nice prime number
	}
  /* USER CODE END doHouseKeeping */
}

/* doPPTPoll function */
void doPPTPoll(void const * argument)
{
  /* USER CODE BEGIN doPPTPoll */
	static Can_frame_t newFrame;

	for(;;){
		xQueueReceive(Can2RxQHandle, &newFrame, portMAX_DELAY);
		bxCan_sendFrame(&newFrame);
	}
  /* USER CODE END doPPTPoll */
}

/* TmrKickDog function */
void TmrKickDog(void const * argument)
{
  /* USER CODE BEGIN TmrKickDog */
	taskENTER_CRITICAL();
	HAL_WWDG_Refresh(&hwwdg);
	taskEXIT_CRITICAL();
  /* USER CODE END TmrKickDog */
}

/* TmrSendHB function */
void TmrSendHB(void const * argument)
{
  /* USER CODE BEGIN TmrSendHB */
	// CHECKED
	static Can_frame_t newFrame;

	// newFrame.isExt = 0;
	// newFrame.isRemote = 0;
	// ^ is initialized as 0

	if(getSelfState() == ACTIVE){
		// Assemble new heartbeat frame
		newFrame.id = selfNodeID + swOffset;
		newFrame.dlc = CAN_HB_DLC;
		for(int i=0; i<4; i++){
			newFrame.Data[3-i] = (selfStatusWord >> (8*i)) & 0xff;			// Convert uint32_t -> uint8_t
		}
		bxCan_sendFrame(&newFrame);
		#ifdef DEBUG
			static uint8_t hbmsg[] = "Heartbeat issued\n";
			Serial2_writeBytes(hbmsg, sizeof(hbmsg)-1);
		#endif
	}
	else if (getSelfState() == INIT){
		// Assemble new addition request (firmware version) frame
		newFrame.id = selfNodeID + fwOffset;
		newFrame.dlc = CAN_FW_DLC;
		for(int i=0; i<4; i++){
			newFrame.Data[3-i] = (firmwareString >> (8*i)) & 0xff;			// Convert uint32_t -> uint8_t
		}
		bxCan_sendFrame(&newFrame);
		#ifdef DEBUG
			static uint8_t hbmsg[] = "Init handshake issued\n";
			Serial2_writeBytes(hbmsg, sizeof(hbmsg)-1);
		#endif
	}
	// No heartbeats sent in other states
  /* USER CODE END TmrSendHB */
}

void HAL_TIM_PeriodElapsedCallback(TIM_HandleTypeDef *htim)
{
  if (htim->Instance == TIM6) {
    HAL_IncTick();
  }
}

void _Error_Handler(char * file, int line)
{
  while(1)
  {
  }
}

/************************ (C) COPYRIGHT STMicroelectronics *****END OF FILE****/
